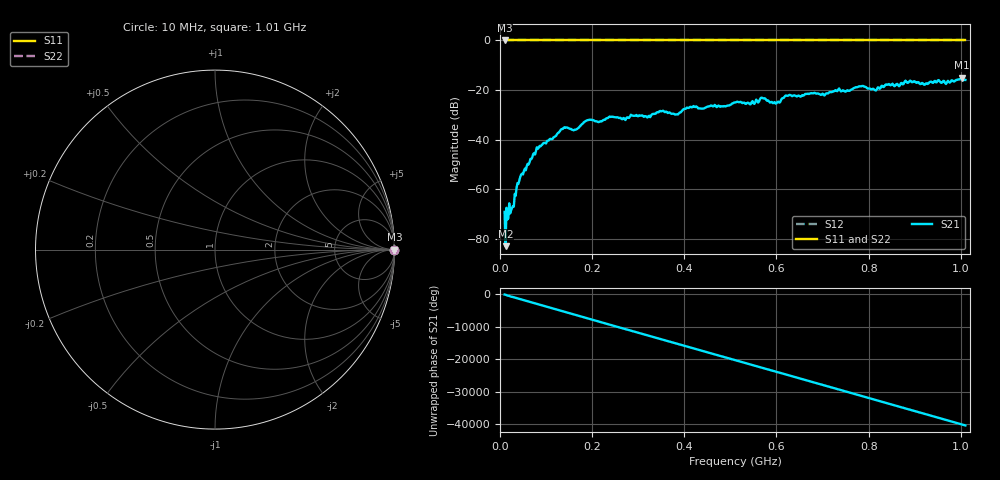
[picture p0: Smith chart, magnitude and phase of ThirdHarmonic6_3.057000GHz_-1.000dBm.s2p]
! 8/17/2025 8:53:56 AM
! C:\ANRITSUVNA\TEMP\TEMP.S2P
! CHANNEL.1
! TR.MEASUREMENT
! RAW.DATA
! RF.CORRECTION.OFF
! AVERAGING.OFF
! IF.BANDWIDTH: 5KHZ
! SWEEPTYPE:  FREQ.SWEEP(Linear)
! Reference Plane Port Info
! PORT:  PORT1  PORT2
! DISTANCE:  0  m  0  m
! TIME:  0  s  0  s
! PHASE.OFFSET:  0  deg.  0  deg.
! LOSS:  0  dB  0  dB
! REF.LOSS:  0  dB  0  dB
! REF.FREQ:  0  Hz  0  Hz
! Power Info
! POWER:  -20  dBm  -20  dBm
! EFF.POWER:  -20  dBm  -20  dBm
! SOURCE.ATTEN:  0  dB  0  dB
! TEST.ATTEN:  0  dB  0  dB
# GHZ S RI R 50.0
! FREQ.GHZ  S11RE  S11IM  S21RE  S21IM  S12RE  S12IM  S22RE  S22IM
!; PortSelection: Port_12
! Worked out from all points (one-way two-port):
!   501 points, 10 MHz to 1.01 GHz, reference 50 ohm
!   highest |S21| = -14.92 dB at 1.002 GHz (marker M1); lowest = -82.9 dB at 12 MHz (marker M2)
!   lowest |S11| = 0.0 dB at 10 MHz (marker M3)
!   |S11| at or under -10 dB: nowhere
!   |S22| runs from 0.0 to 0.0 dB; largest |S21 - S12| = 1.2
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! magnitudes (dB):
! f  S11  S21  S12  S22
! 10 MHz  0.0  -69.0  0.0  0.0
! 12 MHz  0.0  -82.9  0.0  0.0
! 26 MHz  0.0  -67.5  0.0  0.0
! 42 MHz  0.0  -56.3  0.0  0.0
! 82 MHz  0.0  -43.6  0.0  0.0
! 136 MHz  0.0  -35.7  0.0  0.0
! 162 MHz  0.0  -36.0  0.0  0.0
! 178 MHz  0.0  -33.7  0.0  0.0
! 344 MHz  0.0  -28.9  0.0  0.0
! 384 MHz  0.0  -29.8  0.0  0.0
! 416 MHz  0.0  -27.0  0.0  0.0
! 510 MHz  0.0  -25.0  0.0  0.0
! 548 MHz  0.0  -24.4  0.0  0.0
! 570 MHz  0.0  -23.2  0.0  0.0
! 596 MHz  0.0  -24.8  0.0  0.0
! 624 MHz  0.0  -22.3  0.0  0.0
! 678 MHz  0.0  -21.3  0.0  0.0
! 784 MHz  0.0  -18.5  0.0  0.0
! 814 MHz  0.0  -20.0  0.0  0.0
! 844 MHz  0.0  -17.5  0.0  0.0
! 1.002 GHz  0.0  -14.9  0.0  0.0
! 1.01 GHz  0.0  -15.9  0.0  0.0
